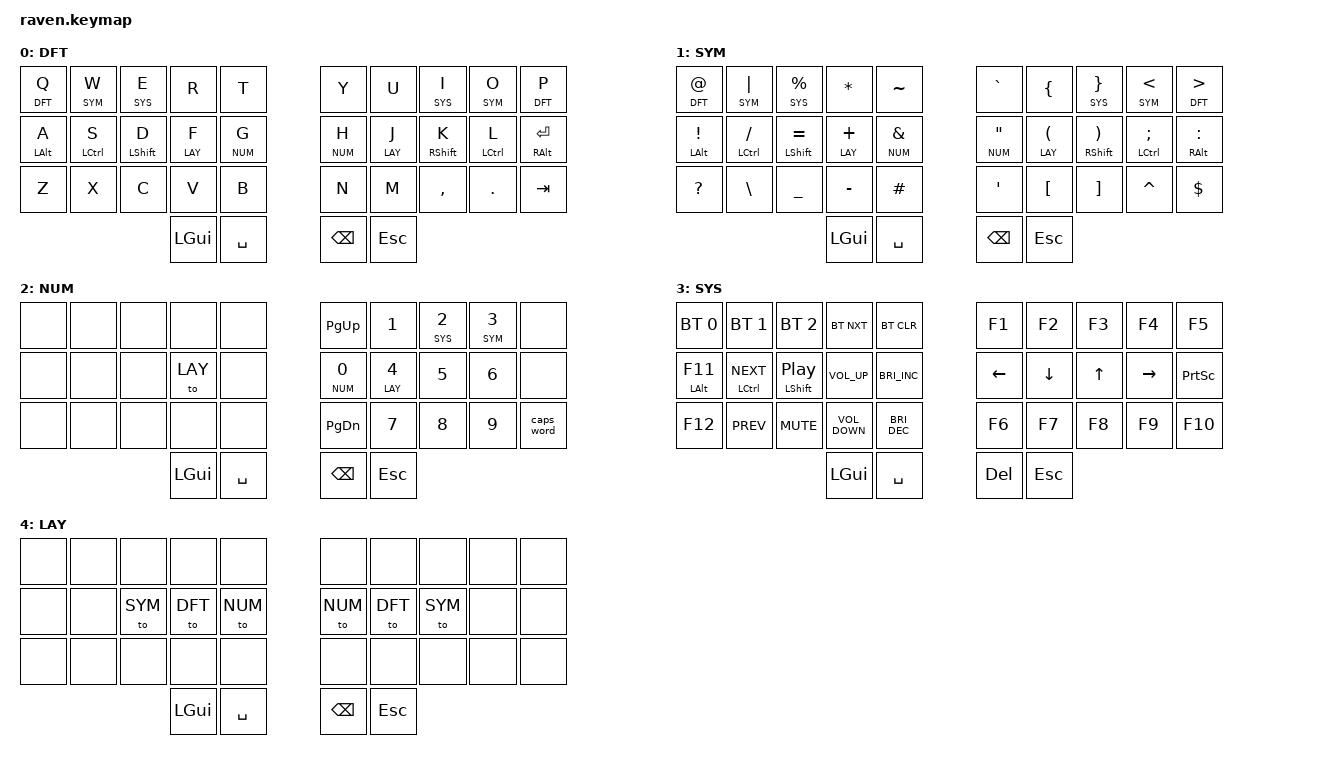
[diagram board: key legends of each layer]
/*
 * Copyright (c) 2020 The ZMK Contributors
 *
 * SPDX-License-Identifier: MIT
 */
#include <behaviors.dtsi>
#include <dt-bindings/zmk/keys.h>
#include <dt-bindings/zmk/bt.h>
#include <dt-bindings/zmk/outputs.h>

#define DFT 0
#define SYM 1
#define NUM 2
#define SYS 3
#define LAY 4

#define SK(KEY) &nk KEY KEY
#define STICKY_KEY_TIMEOUT 60000 // Keep sticky keys active longer

&sk {
  release-after-ms = <STICKY_KEY_TIMEOUT>;
};

&caps_word {
  continue-list = <UNDERSCORE MINUS BACKSPACE>;
};

//                         Layout
//  ╭────────────────────────╮╭────────────────────────╮
//  │ 0  | 1  | 2  | 3  | 4  ││ 21 | 20 | 19 | 18 | 17 │
//  │ 5  | 6  | 7  | 8  | 9  ││ 26 | 25 | 24 | 23 | 22 │
//  │ 10 | 11 | 12 | 13 | 14 ││ 31 | 30 | 29 | 28 | 27 │
//  ╰──────────────╮ 15 | 16 ││ 33 | 32 ╭──────────────╯
//                 ╰─────────╯╰─────────╯

/ { 

    combos {
        #include "combos.dtsi"
    };

    macros {
        #include "macros.dtsi"
    };

    behaviors {
        // Sticky key on tap, normal key on hold
        // Useful for modifier-clicking without the modifier remaining active
        /* nk: not_so_sticky_key { */
        /*     compatible = "zmk,behavior-hold-tap"; */
        /*     label = "NOT_SO_STICKY_KEY"; */
        /*     #binding-cells = <2>; */
        /*     tapping_term_ms = <200>; */
        /*     flavor = "tap-preferred"; */
        /*     bindings = <&kp>, <&sk>; */
        /* }; */

        /* skq: sticky_key_quick_release { */
        /*   compatible = "zmk,behavior-sticky-key"; */
        /*   label = "STICKY_KEY_QUICK_RELEASE"; */
        /*   #binding-cells = <1>; */
        /*   bindings = <&kp>; */
        /*   quick-release; */
        /*   release-after-ms = <STICKY_KEY_TIMEOUT>; */
        /* }; */


    };
    keymap {
        compatible = "zmk,keymap";
                
        default_layer {
            label = "DFT";
            bindings = <
//         ╭────────────────────────────────────────────────────────────╮ ╭─────────────────────────────────────────────────────────────────────╮
            &lt DFT Q   &lt SYM W   &lt SYS E      &kp R       &kp T        &kp Y          &kp U        &lt SYS I     &lt SYM O   &lt DFT P     
            &mt LALT A  &mt LCTL S  &mt LSHIFT D   &lt LAY F   &lt NUM G    &lt NUM H      &lt LAY J    &mt RSHIFT K  &mt LCTL L  &mt RALT ENTER
            &kp Z       &kp X       &kp C          &kp V       &kp B        &kp N          &kp M        &kp COMMA     &kp PERIOD  &kp TAB        
//         ╰─────────────────────────────────────╮                      │ │                            ╭────────────────────────────────────────╯
                                                   &kp LGUI    &kp SPC      &kp BACKSPACE  &kp ESCAPE
//                                               ╰──────────────────────╯ ╰───────────────────────────╯
            >;
		};

        sym_layer {
            label = "SYM";
            bindings = <
//         ╭───────────────────────────────────────────────────────────────────────────────────╮   ╭────────────────────────────────────────────────────────────────────────────────────────────────╮
            &lt DFT AT_SIGN       &lt SYM PIPE    &lt SYS PERCENT   &kp ASTERISK  &kp TILDE          &kp GRAVE              &kp LBRC      &lt SYS RBRC     &lt SYM LESS_THAN   &lt DFT GREATER_THAN 
            &mt LALT EXCLAMATION  &mt LCTL SLASH  &mt LSHIFT EQUAL  &lt LAY PLUS  &lt NUM AMPERSAND  &lt NUM DOUBLE_QUOTES  &lt LAY LPAR  &mt RSHIFT RPAR  &mt LCTL SEMICOLON  &mt RALT COLON 
            &kp QUESTION          &kp BACKSLASH   &kp UNDERSCORE    &kp MINUS     &kp HASH           &kp SINGLE_QUOTE       &kp LBKT      &kp RBKT         &kp CARET           &kp DOLLAR 

//         ╰──────────────────────────────────────────────────────╮                            │   │                                       ╭────────────────────────────────────────────────────────╯
                                                                    &kp LGUI      &kp SPC            &kp BACKSPACE          &kp ESCAPE
//                                                                ╰────────────────────────────╯   ╰───────────────────────────────────────╯
            >;
		};

        num_layer {
            label = "NUM";
            bindings = <
//         ╭────────────────────────────────────────────────╮ ╭────────────────────────────────────────────────────────────────────╮
            &none    &none    &none    &none     &none           &kp PAGE_UP     &kp N1         &lt SYS N2  &lt SYM N3  &none
            &none    &none    &none    &to LAY   &none           &lt NUM N0      &lt LAY N4     &kp N5      &kp N6      &none 
            &none    &none    &none    &none     &none           &kp PAGE_DOWN   &kp N7         &kp N8      &kp N9      &caps_word           
//         ╰─────────────────────────╮                      │ │                               ╭────────────────────────────────────╯
                                       &kp LGUI  &kp SPC         &kp BACKSPACE   &kp ESCAPE
//                                   ╰──────────────────────╯ ╰───────────────────────────────╯
            >;
		};
        sys_layer {
            label = "SYS";
            bindings = <
//         ╭──────────────────────────────────────────────────────────────────────────────────────────────────╮ ╭────────────────────────────────────────────────────────────────╮
            &bt BT_SEL 0  &bt BT_SEL 1      &bt BT_SEL 2              &bt BT_NXT          &bt BT_CLR               &kp F1         &kp F2      &kp F3  &kp F4     &kp F5
            &mt LALT F11  &mt LCTL C_NEXT   &mt LSHIFT C_PLAY_PAUSE   &kp C_VOLUME_UP     &kp C_BRIGHTNESS_INC     &kp LEFT       &kp DOWN    &kp UP  &kp RIGHT  &kp PRINTSCREEN
            &kp F12       &kp C_PREV        &kp C_MUTE                &kp C_VOLUME_DOWN   &kp C_BRIGHTNESS_DEC     &kp F6         &kp F7      &kp F8  &kp F9     &kp F10           
//         ╰────────────────────────────────────────────────────────╮                                          │ │                           ╭───────────────────────────────────╯
                                                                      &kp LGUI            &kp SPC                  &kp DELETE  &kp ESCAPE
//                                                                  ╰──────────────────────────────────────────╯ ╰───────────────────────────╯
            >;
		};
        layout_layer {
            label = "LAY";
            bindings = <
//         ╭──────────────────────────────────────────╮ ╭─────────────────────────────────────────────────╮
            &none &none &none    &none       &none        &none          &none      &none    &none  &none
            &none &none &to SYM  &to DFT     &to NUM      &to NUM        &to DFT    &to SYM  &none  &none 
            &none &none &none    &none       &none        &none          &none      &none    &none  &none           
//         ╰───────────────────╮                      │ │                           ╭─────────────────────╯
                                 &kp LGUI    &kp SPC      &kp BACKSPACE  &kp ESCAPE
//                             ╰──────────────────────╯ ╰───────────────────────────╯
            >;
		};
	};
};
// Char used
// ╭ ╮╰ ╯ ─ │ 
